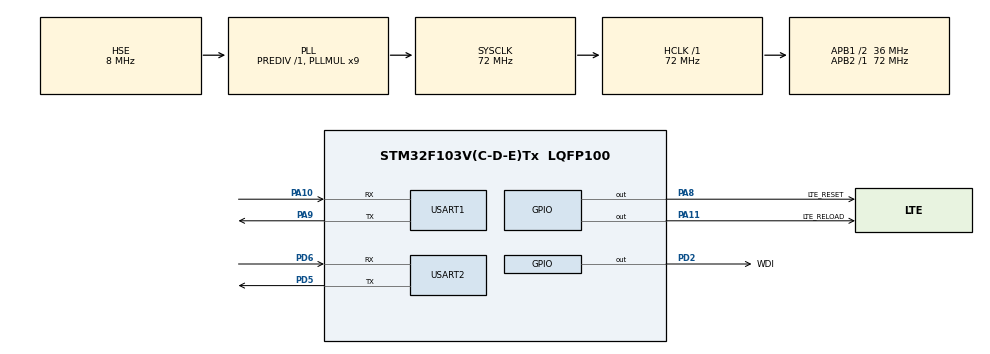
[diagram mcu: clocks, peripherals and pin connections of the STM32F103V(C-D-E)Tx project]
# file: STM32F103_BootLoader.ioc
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Mcu.Family=STM32F1
Mcu.Name=STM32F103V(C-D-E)Tx
Mcu.Package=LQFP100
NVIC.PriorityGroup=NVIC_PRIORITYGROUP_4
OSC_IN.Mode=HSE-External-Oscillator
OSC_IN.Signal=RCC_OSC_IN
OSC_OUT.Mode=HSE-External-Oscillator
OSC_OUT.Signal=RCC_OSC_OUT
PA10.Mode=Asynchronous
PA10.Signal=USART1_RX
PA11.GPIO_Label=LTE_RELOAD
PA11.GPIO_PuPd=GPIO_PULLUP
PA11.GPIO_Speed=GPIO_SPEED_FREQ_LOW
PA11.PinState=GPIO_PIN_SET
PA11.Signal=GPIO_Output
PA13.Mode=Serial_Wire
PA13.Signal=SYS_JTMS-SWDIO
PA14.Mode=Serial_Wire
PA14.Signal=SYS_JTCK-SWCLK
PA8.GPIO_Label=LTE_RESET
PA8.GPIO_PuPd=GPIO_PULLUP
PA8.PinState=GPIO_PIN_SET
PA8.Signal=GPIO_Output
PA9.Mode=Asynchronous
PA9.Signal=USART1_TX
PC14-OSC32_IN.Mode=LSE-External-Oscillator
PC14-OSC32_IN.Signal=RCC_OSC32_IN
PC15-OSC32_OUT.Mode=LSE-External-Oscillator
PC15-OSC32_OUT.Signal=RCC_OSC32_OUT
PD2.GPIO_Label=WDI
PD2.GPIO_PuPd=GPIO_PULLUP
PD2.PinState=GPIO_PIN_SET
PD2.Signal=GPIO_Output
PD5.Mode=Asynchronous
PD5.Signal=USART2_TX
PD6.Mode=Asynchronous
PD6.Signal=USART2_RX
ProjectManager.HeapSize=0x200
ProjectManager.StackSize=0x400
ProjectManager.TargetToolchain=MDK-ARM V5.32
RCC.AHBFreq_Value=72000000
RCC.APB1CLKDivider=RCC_HCLK_DIV2
RCC.APB1Freq_Value=36000000
RCC.APB1TimFreq_Value=72000000
RCC.APB2Freq_Value=72000000
RCC.APB2TimFreq_Value=72000000
RCC.HCLKFreq_Value=72000000
RCC.PLLMUL=RCC_PLL_MUL9
RCC.PLLSourceVirtual=RCC_PLLSOURCE_HSE
RCC.SYSCLKFreq_VALUE=72000000
RCC.SYSCLKSource=RCC_SYSCLKSOURCE_PLLCLK
RCC.USBFreq_Value=72000000
USART1.VirtualMode=VM_ASYNC
USART2.VirtualMode=VM_ASYNC
board=custom

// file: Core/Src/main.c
/* USER CODE BEGIN Header */
/**
 ******************************************************************************
 * @file           : main.c
 * @brief          : Main program body
 ******************************************************************************
 * @attention
 *
 * Copyright (c) 2022 STMicroelectronics.
 * All rights reserved.
 *
 * This software is licensed under terms that can be found in the LICENSE file
 * in the root directory of this software component.
 * If no LICENSE file comes with this software, it is provided AS-IS.
 *
 ******************************************************************************
 */
/* USER CODE END Header */
#include "main.h"
#include "usart.h"
#include "gpio.h"

/* USER CODE BEGIN Includes */
#include "menu.h"
#include "flash_if.h"
#include "ymodem.h"
#include "common.h"
/* USER CODE END Includes */

/* USER CODE BEGIN PTD */
#define SAVE_FLAG_ADDR 0x0807f864
// #define UPDATE_VALUE 0x5AA51234
/* Start user code address*/
// typedef void (*pFunction)(void);
// pFunction JumpToApplication;
// uint32_t JumpAddress;
uint32_t gJump_ApplicationAddr = 0;
uint32_t gUpdate_flag = 0;
extern pFunction JumpToApplication;
extern uint32_t JumpAddress;
/* USER CODE END PTD */

void SystemClock_Config(void);

int main(void)
{

  /* MCU Configuration--------------------------------------------------------*/

  /* Reset of all peripherals, Initializes the Flash interface and the Systick. */
  HAL_Init();

  /* Configure the system clock */
  SystemClock_Config();

  /* Initialize all configured peripherals */
  MX_GPIO_Init();
  MX_USART1_UART_Init();
  MX_USART2_UART_Init();
  /* USER CODE BEGIN 2 */
  /* Initialise Flash */
  FLASH_If_Init();
  /* USER CODE END 2 */

  /* Infinite loop */
  while (1)
  {

    /* USER CODE BEGIN 3 */
    gUpdate_flag = (*(__IO uint32_t *)UPDATE_SAVE_ADDRESS);
    uint32_t jump_addr = (((gUpdate_flag & 0xFFFF0000) >> 16U) == UPDATE_APP1) ? APPLICATION1_ADDRESS
                                                                               : ((((gUpdate_flag & 0xFFFF0000) >> 16U) == UPDATE_APP2) ? APPLICATION2_ADDRESS : APPLICATION1_ADDRESS);
    /*Record the execution address of the current application*/
    gJump_ApplicationAddr = jump_addr;
    if (((gUpdate_flag & 0x0000FFFF) == UPDATE_CMD) || (!jump_addr))
    {
      Serial_PutString((uint8_t *)"\r\nIAP Start .......\r\n");
      /* Initialise Flash */
      // FLASH_If_Init();
      /* Display main menu */
      Main_Menu();
    }
    else
    {
      /* Test if user code is programmed starting from address "jump_addr" */
      if ((((*(__IO uint32_t *)jump_addr) & 0x2FFE0000) == 0x20000000) && jump_addr)
      {
        /* Jump to user application */
        JumpAddress = *(__IO uint32_t *)(jump_addr + 4);
        if ((JumpAddress & jump_addr) == jump_addr)
        {
          if (jump_addr == APPLICATION1_ADDRESS)
          {
            Serial_PutString((uint8_t *)"\r\nApp1 starts execution ......\r\n");
          }
          else if (jump_addr == APPLICATION2_ADDRESS)
          {
            Serial_PutString((uint8_t *)"\r\nApp2 starts execution ......\r\n");
          }
          JumpToApplication = (pFunction)JumpAddress;
		  __disable_irq();
          SysTick->CTRL = 0, SysTick->LOAD = 0, SysTick->VAL = 0;
          for (uint8_t i = 0; i < 8; i++)
          {
            NVIC->ICER[i] = 0xFFFFFFFF;
            NVIC->ICPR[i] = 0xFFFFFFFF;
          }
		  HAL_RCC_DeInit();
          /* Initialize user application's Stack Pointer */
          __set_MSP(*(__IO uint32_t *)jump_addr);
          /*Close interrupt*/
//          __set_FAULTMASK(1);

//		  __disable_irq();
          JumpToApplication();
        }
        else
        {
          Serial_PutString((uint8_t *)"\r\nError: The application address does not match the jump address!\r\n");
        }
      }
      else
      {
        Serial_PutString((uint8_t *)"\r\nJump address error: please check the interrupt vector and program address !\r\n");
        HAL_GPIO_TogglePin(WDI_GPIO_Port, WDI_Pin);
        // HAL_Delay(500);
        // /*Jump failed. Restart bootloader*/
        // gUpdate_flag = ((uint32_t)(gUpdate_flag & 0xFFFF0000) | UPDATE_CMD);
        // /* erase user application area */
        // FLASH_If_Erase(UPDATE_SAVE_ADDRESS, FLASH_PAGE_SIZE);
        // /*Upgrade success flag will be written in flash*/
        // FLASH_If_Write(UPDATE_SAVE_ADDRESS, &gUpdate_flag, 1U);
        // NVIC_SystemReset();
      }
    }
    Serial_PutString((uint8_t *)"\r\nNote: The system starts to restart......\r\n");
    /*重启系统*/
    HAL_Delay(500);
    /*Jump failed. Restart bootloader*/
    gUpdate_flag = ((uint32_t)(gUpdate_flag & 0xFFFF0000) | UPDATE_CMD);
    /* erase user application area */
    FLASH_If_Erase(UPDATE_SAVE_ADDRESS, FLASH_PAGE_SIZE);
    /*Upgrade success flag will be written in flash*/
    FLASH_If_Write(UPDATE_SAVE_ADDRESS, &gUpdate_flag, 1U);
    NVIC_SystemReset();
  }
  /* USER CODE END 3 */
}

void SystemClock_Config(void)
{
  RCC_OscInitTypeDef RCC_OscInitStruct = {0};
  RCC_ClkInitTypeDef RCC_ClkInitStruct = {0};

  /** Initializes the RCC Oscillators according to the specified parameters
  * in the RCC_OscInitTypeDef structure.
  */
  RCC_OscInitStruct.OscillatorType = RCC_OSCILLATORTYPE_HSE;
  RCC_OscInitStruct.HSEState = RCC_HSE_ON;
  RCC_OscInitStruct.HSEPredivValue = RCC_HSE_PREDIV_DIV1;
  RCC_OscInitStruct.HSIState = RCC_HSI_ON;
  RCC_OscInitStruct.PLL.PLLState = RCC_PLL_ON;
  RCC_OscInitStruct.PLL.PLLSource = RCC_PLLSOURCE_HSE;
  RCC_OscInitStruct.PLL.PLLMUL = RCC_PLL_MUL9;
  if (HAL_RCC_OscConfig(&RCC_OscInitStruct) != HAL_OK)
  {
    Error_Handler();
  }

  /** Initializes the CPU, AHB and APB buses clocks
  */
  RCC_ClkInitStruct.ClockType = RCC_CLOCKTYPE_HCLK|RCC_CLOCKTYPE_SYSCLK
                              |RCC_CLOCKTYPE_PCLK1|RCC_CLOCKTYPE_PCLK2;
  RCC_ClkInitStruct.SYSCLKSource = RCC_SYSCLKSOURCE_PLLCLK;
  RCC_ClkInitStruct.AHBCLKDivider = RCC_SYSCLK_DIV1;
  RCC_ClkInitStruct.APB1CLKDivider = RCC_HCLK_DIV2;
  RCC_ClkInitStruct.APB2CLKDivider = RCC_HCLK_DIV1;

  if (HAL_RCC_ClockConfig(&RCC_ClkInitStruct, FLASH_LATENCY_2) != HAL_OK)
  {
    Error_Handler();
  }
}

void Error_Handler(void)
{
  __disable_irq();
  while (1)
  {
  }
}
